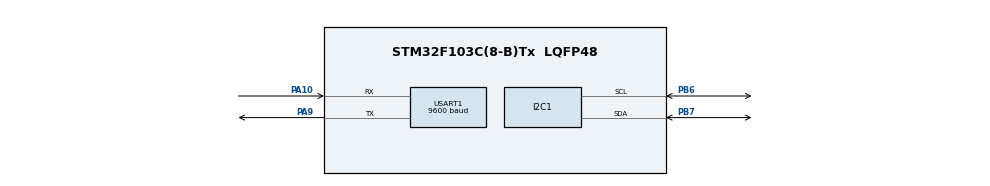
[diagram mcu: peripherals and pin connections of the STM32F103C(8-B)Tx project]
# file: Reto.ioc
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I2C1.I2C_Mode=I2C_Fast
Mcu.Family=STM32F1
Mcu.Name=STM32F103C(8-B)Tx
Mcu.Package=LQFP48
NVIC.PriorityGroup=NVIC_PRIORITYGROUP_4
PA10.Mode=Asynchronous
PA10.Signal=USART1_RX
PA13.Mode=Serial_Wire
PA13.Signal=SYS_JTMS-SWDIO
PA14.Mode=Serial_Wire
PA14.Signal=SYS_JTCK-SWCLK
PA9.Mode=Asynchronous
PA9.Signal=USART1_TX
PB6.Mode=I2C
PB6.Signal=I2C1_SCL
PB7.Mode=I2C
PB7.Signal=I2C1_SDA
ProjectManager.HeapSize=0x200
ProjectManager.StackSize=0x400
ProjectManager.TargetToolchain=STM32CubeIDE
RCC.APB1Freq_Value=8000000
RCC.APB2Freq_Value=8000000
USART1.BaudRate=9600
USART1.VirtualMode=VM_ASYNC
board=custom

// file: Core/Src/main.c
/* USER CODE BEGIN Header */
/**
  ******************************************************************************
  * @file           : main.c
  * @brief          : Main program body
  ******************************************************************************
  * @attention
  *
  * Copyright (c) 2025 STMicroelectronics.
  * All rights reserved.
  *
  * This software is licensed under terms that can be found in the LICENSE file
  * in the root directory of this software component.
  * If no LICENSE file comes with this software, it is provided AS-IS.
  *
  ******************************************************************************
  */
/* USER CODE END Header */
#include "main.h"

/* USER CODE BEGIN Includes */
#include "string.h"
#include "stdio.h"
/* USER CODE END Includes */

/* USER CODE BEGIN PD */
#define MPU_ADDR	(0x68 << 1)
/* USER CODE END PD */

I2C_HandleTypeDef hi2c1;

UART_HandleTypeDef huart1;

/* USER CODE BEGIN PV */
uint8_t accel_data[6];

/* USER CODE END PV */

void SystemClock_Config(void);
static void MX_GPIO_Init(void);
static void MX_I2C1_Init(void);
static void MX_USART1_UART_Init(void);

/* USER CODE BEGIN 0 */
void MPU9250_Init(void);

/* USER CODE END 0 */

int main(void)
{

  /* MCU Configuration--------------------------------------------------------*/

  /* Reset of all peripherals, Initializes the Flash interface and the Systick. */
  HAL_Init();

  /* Configure the system clock */
  SystemClock_Config();

  /* Initialize all configured peripherals */
  MX_GPIO_Init();
  MX_I2C1_Init();
  MX_USART1_UART_Init();
  /* USER CODE BEGIN 2 */
  MPU9250_Init();
  /* USER CODE END 2 */

  /* Infinite loop */
  /* USER CODE BEGIN WHILE */
  while (1)
  {

	  HAL_I2C_Mem_Read(&hi2c1, MPU_ADDR, 0x3B, 1, accel_data, 6, HAL_MAX_DELAY);
	  int16_t ax = (int16_t)(accel_data[0] << 8 | accel_data[1]);
	  int16_t ay = (int16_t)(accel_data[2] << 8 | accel_data[3]);
	  int16_t az = (int16_t)(accel_data[4] << 8 | accel_data[5]);

	  char msg[64];
	  sprintf(msg, "ax: %d ay: %d az: %d\r\n", ax, ay, az);
	  HAL_UART_Transmit(&huart1, (uint8_t *)msg, strlen(msg), HAL_MAX_DELAY);
	  HAL_Delay(1000);
    /* USER CODE END WHILE */
  }
}

void SystemClock_Config(void)
{
  RCC_OscInitTypeDef RCC_OscInitStruct = {0};
  RCC_ClkInitTypeDef RCC_ClkInitStruct = {0};

  /** Initializes the RCC Oscillators according to the specified parameters
  * in the RCC_OscInitTypeDef structure.
  */
  RCC_OscInitStruct.OscillatorType = RCC_OSCILLATORTYPE_HSI;
  RCC_OscInitStruct.HSIState = RCC_HSI_ON;
  RCC_OscInitStruct.HSICalibrationValue = RCC_HSICALIBRATION_DEFAULT;
  RCC_OscInitStruct.PLL.PLLState = RCC_PLL_NONE;
  if (HAL_RCC_OscConfig(&RCC_OscInitStruct) != HAL_OK)
  {
    Error_Handler();
  }

  /** Initializes the CPU, AHB and APB buses clocks
  */
  RCC_ClkInitStruct.ClockType = RCC_CLOCKTYPE_HCLK|RCC_CLOCKTYPE_SYSCLK
                              |RCC_CLOCKTYPE_PCLK1|RCC_CLOCKTYPE_PCLK2;
  RCC_ClkInitStruct.SYSCLKSource = RCC_SYSCLKSOURCE_HSI;
  RCC_ClkInitStruct.AHBCLKDivider = RCC_SYSCLK_DIV1;
  RCC_ClkInitStruct.APB1CLKDivider = RCC_HCLK_DIV1;
  RCC_ClkInitStruct.APB2CLKDivider = RCC_HCLK_DIV1;

  if (HAL_RCC_ClockConfig(&RCC_ClkInitStruct, FLASH_LATENCY_0) != HAL_OK)
  {
    Error_Handler();
  }
}

static void MX_I2C1_Init(void)
{

  hi2c1.Instance = I2C1;
  hi2c1.Init.ClockSpeed = 400000;
  hi2c1.Init.DutyCycle = I2C_DUTYCYCLE_2;
  hi2c1.Init.OwnAddress1 = 0;
  hi2c1.Init.AddressingMode = I2C_ADDRESSINGMODE_7BIT;
  hi2c1.Init.DualAddressMode = I2C_DUALADDRESS_DISABLE;
  hi2c1.Init.OwnAddress2 = 0;
  hi2c1.Init.GeneralCallMode = I2C_GENERALCALL_DISABLE;
  hi2c1.Init.NoStretchMode = I2C_NOSTRETCH_DISABLE;
  if (HAL_I2C_Init(&hi2c1) != HAL_OK)
  {
    Error_Handler();
  }

}

static void MX_USART1_UART_Init(void)
{

  huart1.Instance = USART1;
  huart1.Init.BaudRate = 9600;
  huart1.Init.WordLength = UART_WORDLENGTH_8B;
  huart1.Init.StopBits = UART_STOPBITS_1;
  huart1.Init.Parity = UART_PARITY_NONE;
  huart1.Init.Mode = UART_MODE_TX_RX;
  huart1.Init.HwFlowCtl = UART_HWCONTROL_NONE;
  huart1.Init.OverSampling = UART_OVERSAMPLING_16;
  if (HAL_UART_Init(&huart1) != HAL_OK)
  {
    Error_Handler();
  }

}

static void MX_GPIO_Init(void)
{

  /* GPIO Ports Clock Enable */
  __HAL_RCC_GPIOA_CLK_ENABLE();
  __HAL_RCC_GPIOB_CLK_ENABLE();

}

/* USER CODE BEGIN 4 */

void MPU9250_Init(void)
{
    uint8_t data;

    // Wake up MPU by clearing the sleep bit (PWR_MGMT_1 = 0x6B)
    data = 0x00;
    HAL_I2C_Mem_Write(&hi2c1, MPU_ADDR, 0x6B, 1, &data, 1, HAL_MAX_DELAY);

    // Set clock source to PLL with X axis gyroscope reference
    data = 0x01;
    HAL_I2C_Mem_Write(&hi2c1, MPU_ADDR, 0x6B, 1, &data, 1, HAL_MAX_DELAY);

    // Set accelerometer config to ±2g (ACCEL_CONFIG = 0x1C)
    data = 0x00;
    HAL_I2C_Mem_Write(&hi2c1, MPU_ADDR, 0x1C, 1, &data, 1, HAL_MAX_DELAY);

    // Set accelerometer DLPF (ACCEL_CONFIG_2 = 0x1D) to 44.8Hz
    data = 0x03;
    HAL_I2C_Mem_Write(&hi2c1, MPU_ADDR, 0x1D, 1, &data, 1, HAL_MAX_DELAY);

    // Set gyroscope config to ±250dps (GYRO_CONFIG = 0x1B)
    data = 0x00;
    HAL_I2C_Mem_Write(&hi2c1, MPU_ADDR, 0x1B, 1, &data, 1, HAL_MAX_DELAY);

    // Set gyroscope DLPF (CONFIG = 0x1A) to 41Hz
    data = 0x03;
    HAL_I2C_Mem_Write(&hi2c1, MPU_ADDR, 0x1A, 1, &data, 1, HAL_MAX_DELAY);

    // Set sample rate divider (SMPLRT_DIV = 0x19) to 7 → 1kHz/(1+7)=125Hz
    data = 0x07;
    HAL_I2C_Mem_Write(&hi2c1, MPU_ADDR, 0x19, 1, &data, 1, HAL_MAX_DELAY);
}

/* USER CODE END 4 */

void Error_Handler(void)
{
  __disable_irq();
  while (1)
  {
  }
}
